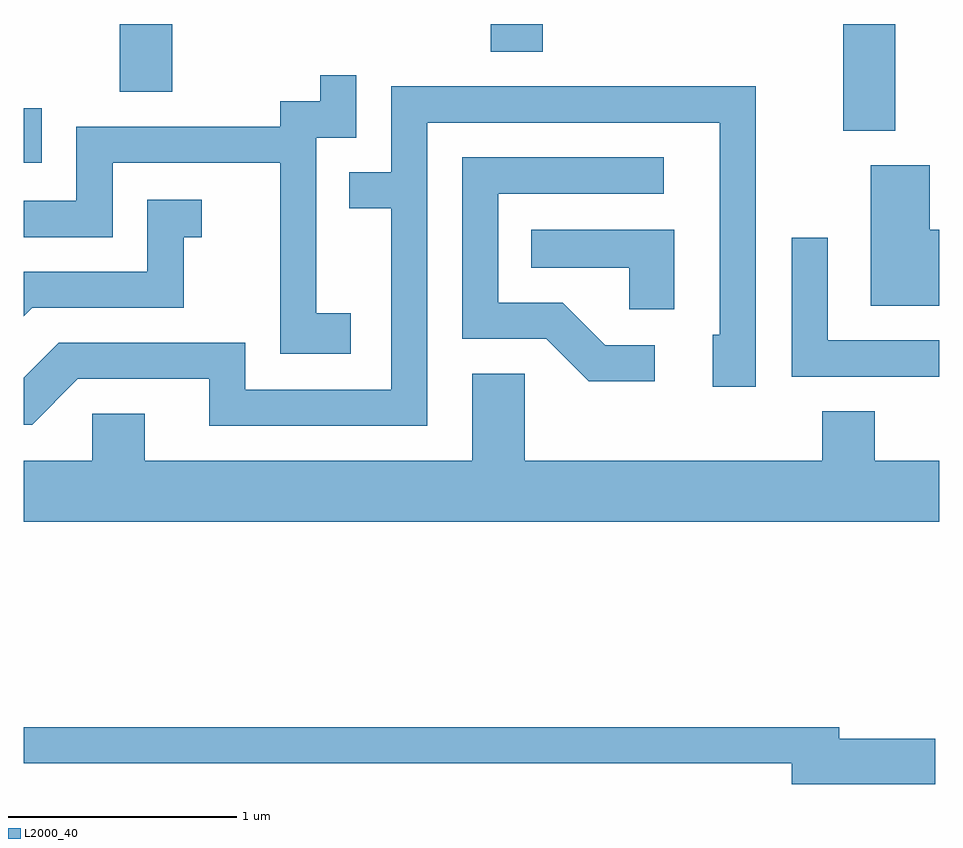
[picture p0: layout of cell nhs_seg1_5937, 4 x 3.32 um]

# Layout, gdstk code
import gdstk
lib = gdstk.Library(unit=1e-6, precision=1e-09)
def R(c, l, rs):  # rectangles x0, y0, x1, y1
    for r in rs: c.add(gdstk.rectangle(r[:2], r[2:], *l))
def P(c, l, *ps):  # polygons
    for p in ps: c.add(gdstk.Polygon(p, *l))
L2000_40 = (2000, 40)

nhs_seg1_5937 = lib.new_cell('nhs_seg1_5937')
R(nhs_seg1_5937, L2000_40, [(363.611,941.106,363.689,941.343), (367.191,941.246,367.419,941.712), (364.031,941.416,364.259,941.712), (365.651,941.591,365.879,941.712)])
P(nhs_seg1_5937, L2000_40, [(365.039,940.449),(364.889,940.449),(364.889,941.216),(365.064,941.216),(365.064,941.488),(364.906,941.488),(364.906,941.374),(364.731,941.374),(364.731,941.264),(363.841,941.264),(363.841,940.939),(363.611,940.939),(363.611,940.781),(363.999,940.781),(363.999,941.106),(364.731,941.106),(364.731,940.271),(365.039,940.271)],
  [(365.374,941.281),(366.651,941.281),(366.651,940.354),(366.621,940.354),(366.621,940.126),(366.809,940.126),(366.809,941.439),(365.216,941.439),(365.216,941.064),(365.033,941.064),(365.033,940.906),(365.216,940.906),(365.216,940.114),(364.579,940.114),(364.579,940.319),(363.764,940.319),(363.611,940.166),(363.611,939.961),(363.647,939.961),(363.847,940.161),(364.421,940.161),(364.421,939.956),(365.374,939.956)],
  [(366.368,940.309),(366.152,940.309),(365.967,940.494),(365.684,940.494),(365.684,940.971),(366.408,940.971),(366.408,941.129),(365.526,941.129),(365.526,940.336),(365.894,940.336),(366.079,940.151),(366.368,940.151)],
  [(367.611,940.814),(367.569,940.814),(367.569,941.094),(367.311,941.094),(367.311,940.481),(367.611,940.481)],
  [(363.647,940.471),(364.309,940.471),(364.309,940.781),(364.388,940.781),(364.388,940.944),(364.151,940.944),(364.151,940.629),(363.611,940.629),(363.611,940.435)],
  [(366.454,940.814),(365.828,940.814),(365.828,940.646),(366.256,940.646),(366.256,940.466),(366.454,940.466)],
  [(367.611,940.329),(367.124,940.329),(367.124,940.778),(366.966,940.778),(366.966,940.171),(367.611,940.171)],
  [(367.611,939.804),(367.329,939.804),(367.329,940.019),(367.101,940.019),(367.101,939.804),(365.799,939.804),(365.799,940.184),(365.571,940.184),(365.571,939.804),(364.139,939.804),(364.139,940.009),(363.911,940.009),(363.911,939.804),(363.611,939.804),(363.611,939.536),(367.611,939.536)],
  [(367.594,938.589),(367.174,938.589),(367.174,938.639),(363.611,938.639),(363.611,938.481),(366.966,938.481),(366.966,938.391),(367.594,938.391)])

lib.write_gds('nhs_seg1_5937.gds')
